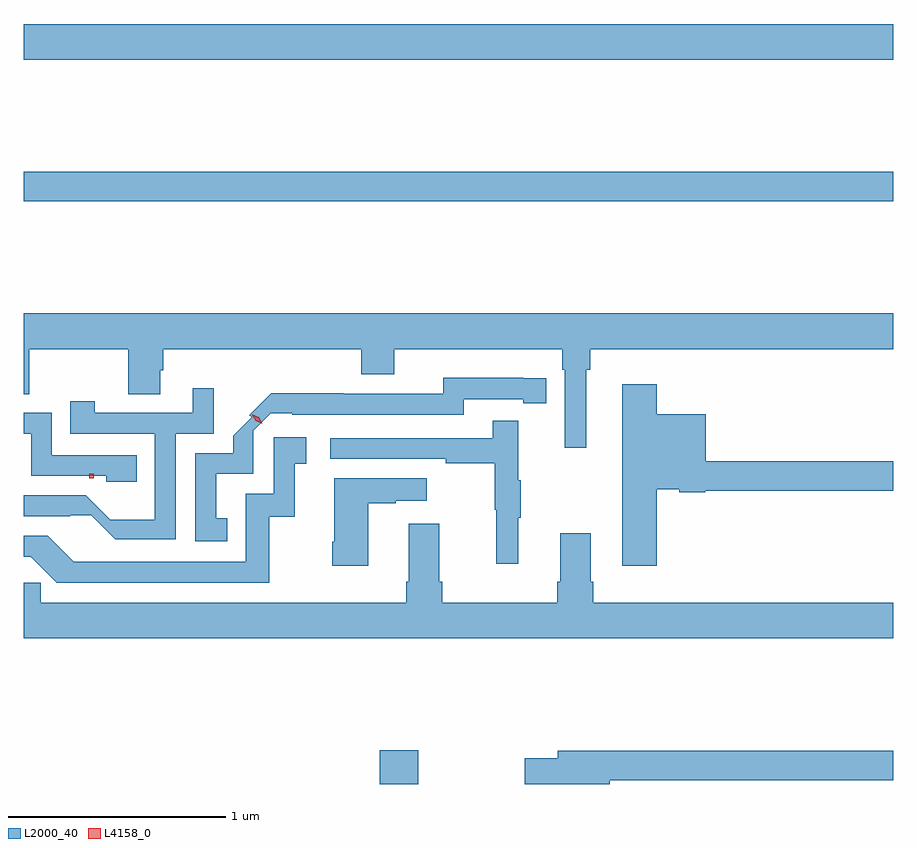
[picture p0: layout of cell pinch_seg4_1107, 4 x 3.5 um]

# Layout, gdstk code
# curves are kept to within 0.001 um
import gdstk
lib = gdstk.Library(unit=1e-6, precision=1e-09)
def R(c, l, rs):  # rectangles x0, y0, x1, y1
    for r in rs: c.add(gdstk.rectangle(r[:2], r[2:], *l))
def P(c, l, *ps):  # polygons
    for p in ps: c.add(gdstk.Polygon(p, *l))
L2000_40 = (2000, 40)
L4158_0 = (4158, 0)

pinch_seg4_1107 = lib.new_cell('pinch_seg4_1107')
R(pinch_seg4_1107, L2000_40, [(517.202,800.146,517.38,800.302), (515.565,802.828,519.565,802.964), (515.565,803.48,519.565,803.644)])
P(pinch_seg4_1107, L2000_40, [(518.152,802.052),(518.171,802.052),(518.171,802.148),(519.565,802.148),(519.565,802.312),(515.565,802.312),(515.565,801.94),(515.589,801.94),(515.589,802.148),(516.046,802.148),(516.046,801.94),(516.193,801.94),(516.193,802.05),(516.206,802.05),(516.206,802.148),(517.118,802.148),(517.118,802.031),(517.27,802.031),(517.27,802.148),(518.042,802.148),(518.042,802.052),(518.055,802.052),(518.055,801.693),(518.152,801.693)],
  [(516.5,801.369),(516.451,801.369),(516.451,801.573),(516.621,801.573),(516.621,801.771),(516.702,801.852),(516.799,801.852),(516.799,801.846),(517.59,801.846),(517.59,801.918),(517.862,801.918),(517.862,801.898),(517.97,801.898),(517.97,802.014),(517.494,802.015),(517.494,801.942),(517.034,801.942),(517.034,801.944),(516.703,801.944),(516.603,801.843),(516.613,801.833),(516.528,801.748),(516.528,801.669),(516.354,801.669),(516.354,801.264),(516.5,801.264)],
  [(518.477,801.503),(518.58,801.503),(518.58,801.488),(518.7,801.488),(518.7,801.496),(519.565,801.496),(519.565,801.632),(518.704,801.632),(518.704,801.847),(518.477,801.847),(518.477,801.985),(518.318,801.985),(518.318,801.15),(518.477,801.15)],
  [(516.264,801.759),(516.438,801.759),(516.438,801.967),(516.341,801.967),(516.341,801.855),(515.89,801.855),(515.89,801.907),(515.779,801.907),(515.779,801.759),(516.168,801.759),(516.168,801.363),(515.961,801.363),(515.85,801.474),(515.565,801.474),(515.565,801.378),(515.777,801.378),(515.777,801.384),(515.874,801.384),(515.985,801.273),(516.264,801.273)],
  [(516.083,801.66),(515.694,801.66),(515.694,801.855),(515.565,801.855),(515.565,801.759),(515.598,801.759),(515.598,801.564),(515.943,801.564),(515.943,801.537),(516.083,801.537)],
  [(517.841,801.371),(517.852,801.371),(517.852,801.545),(517.841,801.545),(517.841,801.817),(517.723,801.817),(517.723,801.738),(516.975,801.738),(516.975,801.642),(517.507,801.642),(517.507,801.622),(517.731,801.622),(517.731,801.408),(517.738,801.408),(517.738,801.159),(517.841,801.159)],
  [(516.694,801.375),(516.812,801.375),(516.812,801.621),(516.865,801.621),(516.865,801.742),(516.714,801.742),(516.714,801.483),(516.585,801.483),(516.585,801.168),(515.795,801.168),(515.675,801.288),(515.565,801.288),(515.565,801.192),(515.596,801.192),(515.716,801.072),(516.694,801.072)],
  [(517.15,801.439),(517.277,801.439),(517.277,801.449),(517.42,801.449),(517.42,801.553),(516.992,801.553),(516.992,801.262),(516.985,801.262),(516.985,801.15),(517.15,801.15)],
  [(519.565,800.98),(518.186,800.98),(518.186,801.076),(518.173,801.076),(518.173,801.301),(518.033,801.301),(518.033,801.076),(518.02,801.076),(518.02,800.98),(517.49,800.98),(517.49,801.076),(517.477,801.076),(517.477,801.343),(517.337,801.343),(517.337,801.076),(517.325,801.076),(517.325,800.98),(515.643,800.98),(515.643,801.072),(515.565,801.072),(515.565,800.816),(519.565,800.816)],
  [(518.26,800.164),(519.565,800.164),(519.565,800.3),(518.021,800.3),(518.021,800.264),(517.871,800.264),(517.871,800.146),(518.26,800.146)])
R(pinch_seg4_1107, L4158_0, [(515.866,801.554,515.886,801.574)])
P(pinch_seg4_1107, L4158_0, [(516.662,801.804),(516.632,801.818),(516.614,801.847),(516.614,801.847),(516.614,801.847),(516.645,801.833),(516.662,801.804),(516.662,801.804)])

lib.write_gds('pinch_seg4_1107.gds')
